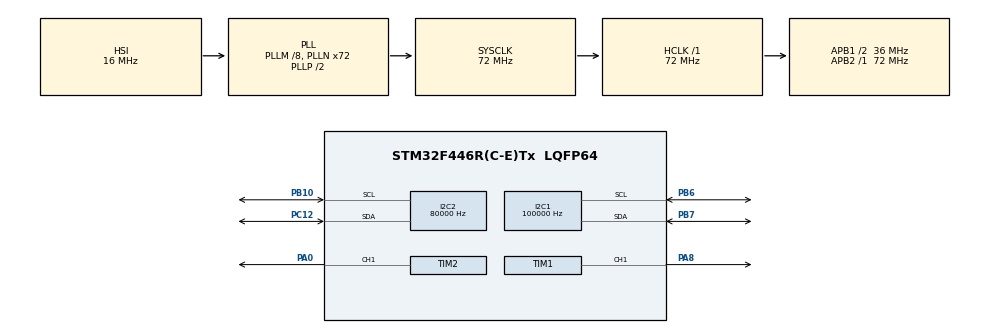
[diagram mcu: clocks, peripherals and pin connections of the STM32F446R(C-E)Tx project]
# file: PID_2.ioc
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I2C1.ClockSpeed=100000
I2C1.I2C_Mode=I2C_Fast
I2C2.ClockSpeed=80000
Mcu.Family=STM32F4
Mcu.Name=STM32F446R(C-E)Tx
Mcu.Package=LQFP64
NVIC.PriorityGroup=NVIC_PRIORITYGROUP_0
PA0-WKUP.Signal=S_TIM2_CH1_ETR
PA13.Mode=Serial_Wire
PA13.Signal=SYS_JTMS-SWDIO
PA14.Mode=Serial_Wire
PA14.Signal=SYS_JTCK-SWCLK
PA8.GPIO_Speed=GPIO_SPEED_FREQ_VERY_HIGH
PA8.Signal=S_TIM1_CH1
PB10.GPIO_Mode=GPIO_MODE_AF_OD
PB10.GPIO_Pu=GPIO_PULLUP
PB10.GPIO_Speed=GPIO_SPEED_FREQ_HIGH
PB10.Mode=I2C
PB10.Signal=I2C2_SCL
PB6.GPIO_Pu=GPIO_PULLUP
PB6.Mode=I2C
PB6.Signal=I2C1_SCL
PB7.GPIO_Pu=GPIO_PULLUP
PB7.Mode=I2C
PB7.Signal=I2C1_SDA
PC12.GPIO_Pu=GPIO_PULLUP
PC12.GPIO_Speed=GPIO_SPEED_FREQ_HIGH
PC12.Mode=I2C
PC12.Signal=I2C2_SDA
ProjectManager.HeapSize=0x200
ProjectManager.StackSize=0x400
ProjectManager.TargetToolchain=STM32CubeIDE
RCC.48MHZClocksFreq_Value=84000000
RCC.AHBFreq_Value=72000000
RCC.APB1CLKDivider=RCC_HCLK_DIV2
RCC.APB1Freq_Value=36000000
RCC.APB1TimFreq_Value=72000000
RCC.APB2Freq_Value=72000000
RCC.APB2TimFreq_Value=72000000
RCC.CortexFreq_Value=72000000
RCC.FLatency-AdvancedSettings=FLASH_LATENCY_2
RCC.HCLKFreq_Value=72000000
RCC.HSE_VALUE=8000000
RCC.HSI_VALUE=16000000
RCC.PLLM=8
RCC.PLLN=72
RCC.SYSCLKFreq_VALUE=72000000
RCC.SYSCLKSource=RCC_SYSCLKSOURCE_PLLCLK
RCC.USBFreq_Value=72000000
RCC.VCOOutputFreq_Value=144000000
SH.S_TIM1_CH1.0=TIM1_CH1,PWM Generation1 CH1
SH.S_TIM2_CH1_ETR.0=TIM2_CH1,PWM Generation1 CH1
TIM1.Channel-PWM\ Generation1\ CH1=TIM_CHANNEL_1
TIM1.Period=1000-1
TIM1.Prescaler=180-1
TIM2.Channel-PWM\ Generation1\ CH1=TIM_CHANNEL_1
TIM2.OCFastMode_PWM-PWM\ Generation1\ CH1=TIM_OCFAST_ENABLE
TIM2.Period=1000-1
TIM2.Prescaler=1440-1
board=NUCLEO-F446RE

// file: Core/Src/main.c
/* USER CODE BEGIN Header */
/**
  ******************************************************************************
  * @file           : main.c
  * @brief          : Main program body
  ******************************************************************************
  * @attention
  *
  * Copyright (c) 2024 STMicroelectronics.
  * All rights reserved.
  *
  * This software is licensed under terms that can be found in the LICENSE file
  * in the root directory of this software component.
  * If no LICENSE file comes with this software, it is provided AS-IS.
  *
  ******************************************************************************
  */
/* USER CODE END Header */
#include "main.h"

/* USER CODE BEGIN Includes */
#include <stdint.h>
#include <stdio.h>
#include <mpu6050.h>
#include <pid.h>
#include <motor.h>

/* USER CODE END Includes */

/* USER CODE BEGIN PTD */

#define Calibrate 1

/* USER CODE END PTD */

I2C_HandleTypeDef hi2c1;
I2C_HandleTypeDef hi2c2;

TIM_HandleTypeDef htim1;
TIM_HandleTypeDef htim2;

/* USER CODE BEGIN PV */

extern float KalmanAngleRoll;
double dt=0;
double dt1=0;
double last_time=0;
uint8_t ccr = 62;
uint8_t update_motor_flag = 0;
extern uint16_t control_sig;
/* USER CODE END PV */

void SystemClock_Config(void);
static void MX_GPIO_Init(void);
static void MX_I2C1_Init(void);
static void MX_TIM1_Init(void);
static void MX_TIM2_Init(void);
static void MX_I2C2_Init(void);

int main(void)
{

  /* MCU Configuration--------------------------------------------------------*/

  /* Reset of all peripherals, Initializes the Flash interface and the Systick. */
  HAL_Init();

  /* Configure the system clock */
  SystemClock_Config();

  /* Initialize all configured peripherals */
  MX_GPIO_Init();
  MX_I2C1_Init();
  MX_TIM1_Init();
  MX_TIM2_Init();
  MX_I2C2_Init();
  /* USER CODE BEGIN 2 */
  mpu6050_init();
  HAL_Delay(100);
 // calibrate_gyro();
 // calibrate_gyro();

  HAL_TIM_PWM_Start(&htim2, TIM_CHANNEL_1);
  __HAL_TIM_SET_COMPARE(&htim2, TIM_CHANNEL_1, 50);
  HAL_Delay(3000); //

  __HAL_TIM_SET_COMPARE(&htim2, TIM_CHANNEL_1, 75);
  HAL_Delay(3000);

  /* USER CODE END 2 */

  /* Infinite loop */
  while (1)
  {

    /* USER CODE BEGIN 3 */

    gyro_signals();

    accel_signals();
    Get_Angle();

    control_sig = get_control_signal(KalmanAngleRoll);

    if(control_sig>94){

      control_sig=94;
    }
    if(control_sig<70){
      control_sig=70;
    }

    __HAL_TIM_SET_COMPARE(&htim2, TIM_CHANNEL_1, control_sig);

  }
  /* USER CODE END 3 */

}
void SystemClock_Config(void)
{
  RCC_OscInitTypeDef RCC_OscInitStruct = {0};
  RCC_ClkInitTypeDef RCC_ClkInitStruct = {0};

  /** Configure the main internal regulator output voltage
  */
  __HAL_RCC_PWR_CLK_ENABLE();
  __HAL_PWR_VOLTAGESCALING_CONFIG(PWR_REGULATOR_VOLTAGE_SCALE3);

  /** Initializes the RCC Oscillators according to the specified parameters
  * in the RCC_OscInitTypeDef structure.
  */
  RCC_OscInitStruct.OscillatorType = RCC_OSCILLATORTYPE_HSI;
  RCC_OscInitStruct.HSIState = RCC_HSI_ON;
  RCC_OscInitStruct.HSICalibrationValue = RCC_HSICALIBRATION_DEFAULT;
  RCC_OscInitStruct.PLL.PLLState = RCC_PLL_ON;
  RCC_OscInitStruct.PLL.PLLSource = RCC_PLLSOURCE_HSI;
  RCC_OscInitStruct.PLL.PLLM = 8;
  RCC_OscInitStruct.PLL.PLLN = 72;
  RCC_OscInitStruct.PLL.PLLP = RCC_PLLP_DIV2;
  RCC_OscInitStruct.PLL.PLLQ = 2;
  RCC_OscInitStruct.PLL.PLLR = 2;
  if (HAL_RCC_OscConfig(&RCC_OscInitStruct) != HAL_OK)
  {
    Error_Handler();
  }

  /** Initializes the CPU, AHB and APB buses clocks
  */
  RCC_ClkInitStruct.ClockType = RCC_CLOCKTYPE_HCLK|RCC_CLOCKTYPE_SYSCLK
                              |RCC_CLOCKTYPE_PCLK1|RCC_CLOCKTYPE_PCLK2;
  RCC_ClkInitStruct.SYSCLKSource = RCC_SYSCLKSOURCE_PLLCLK;
  RCC_ClkInitStruct.AHBCLKDivider = RCC_SYSCLK_DIV1;
  RCC_ClkInitStruct.APB1CLKDivider = RCC_HCLK_DIV2;
  RCC_ClkInitStruct.APB2CLKDivider = RCC_HCLK_DIV1;

  if (HAL_RCC_ClockConfig(&RCC_ClkInitStruct, FLASH_LATENCY_2) != HAL_OK)
  {
    Error_Handler();
  }
}

static void MX_I2C1_Init(void)
{

  hi2c1.Instance = I2C1;
  hi2c1.Init.ClockSpeed = 100000;
  hi2c1.Init.DutyCycle = I2C_DUTYCYCLE_2;
  hi2c1.Init.OwnAddress1 = 0;
  hi2c1.Init.AddressingMode = I2C_ADDRESSINGMODE_7BIT;
  hi2c1.Init.DualAddressMode = I2C_DUALADDRESS_DISABLE;
  hi2c1.Init.OwnAddress2 = 0;
  hi2c1.Init.GeneralCallMode = I2C_GENERALCALL_DISABLE;
  hi2c1.Init.NoStretchMode = I2C_NOSTRETCH_DISABLE;
  if (HAL_I2C_Init(&hi2c1) != HAL_OK)
  {
    Error_Handler();
  }

}

static void MX_I2C2_Init(void)
{

  hi2c2.Instance = I2C2;
  hi2c2.Init.ClockSpeed = 80000;
  hi2c2.Init.DutyCycle = I2C_DUTYCYCLE_2;
  hi2c2.Init.OwnAddress1 = 0;
  hi2c2.Init.AddressingMode = I2C_ADDRESSINGMODE_7BIT;
  hi2c2.Init.DualAddressMode = I2C_DUALADDRESS_DISABLE;
  hi2c2.Init.OwnAddress2 = 0;
  hi2c2.Init.GeneralCallMode = I2C_GENERALCALL_DISABLE;
  hi2c2.Init.NoStretchMode = I2C_NOSTRETCH_DISABLE;
  if (HAL_I2C_Init(&hi2c2) != HAL_OK)
  {
    Error_Handler();
  }

}

static void MX_TIM1_Init(void)
{

  TIM_MasterConfigTypeDef sMasterConfig = {0};
  TIM_OC_InitTypeDef sConfigOC = {0};
  TIM_BreakDeadTimeConfigTypeDef sBreakDeadTimeConfig = {0};

  htim1.Instance = TIM1;
  htim1.Init.Prescaler = 180-1;
  htim1.Init.CounterMode = TIM_COUNTERMODE_UP;
  htim1.Init.Period = 1000-1;
  htim1.Init.ClockDivision = TIM_CLOCKDIVISION_DIV1;
  htim1.Init.RepetitionCounter = 0;
  htim1.Init.AutoReloadPreload = TIM_AUTORELOAD_PRELOAD_DISABLE;
  if (HAL_TIM_PWM_Init(&htim1) != HAL_OK)
  {
    Error_Handler();
  }
  sMasterConfig.MasterOutputTrigger = TIM_TRGO_RESET;
  sMasterConfig.MasterSlaveMode = TIM_MASTERSLAVEMODE_DISABLE;
  if (HAL_TIMEx_MasterConfigSynchronization(&htim1, &sMasterConfig) != HAL_OK)
  {
    Error_Handler();
  }
  sConfigOC.OCMode = TIM_OCMODE_PWM1;
  sConfigOC.Pulse = 0;
  sConfigOC.OCPolarity = TIM_OCPOLARITY_HIGH;
  sConfigOC.OCNPolarity = TIM_OCNPOLARITY_HIGH;
  sConfigOC.OCFastMode = TIM_OCFAST_DISABLE;
  sConfigOC.OCIdleState = TIM_OCIDLESTATE_RESET;
  sConfigOC.OCNIdleState = TIM_OCNIDLESTATE_RESET;
  if (HAL_TIM_PWM_ConfigChannel(&htim1, &sConfigOC, TIM_CHANNEL_1) != HAL_OK)
  {
    Error_Handler();
  }
  sBreakDeadTimeConfig.OffStateRunMode = TIM_OSSR_DISABLE;
  sBreakDeadTimeConfig.OffStateIDLEMode = TIM_OSSI_DISABLE;
  sBreakDeadTimeConfig.LockLevel = TIM_LOCKLEVEL_OFF;
  sBreakDeadTimeConfig.DeadTime = 0;
  sBreakDeadTimeConfig.BreakState = TIM_BREAK_DISABLE;
  sBreakDeadTimeConfig.BreakPolarity = TIM_BREAKPOLARITY_HIGH;
  sBreakDeadTimeConfig.AutomaticOutput = TIM_AUTOMATICOUTPUT_DISABLE;
  if (HAL_TIMEx_ConfigBreakDeadTime(&htim1, &sBreakDeadTimeConfig) != HAL_OK)
  {
    Error_Handler();
  }
  HAL_TIM_MspPostInit(&htim1);

}

static void MX_TIM2_Init(void)
{

  TIM_MasterConfigTypeDef sMasterConfig = {0};
  TIM_OC_InitTypeDef sConfigOC = {0};

  htim2.Instance = TIM2;
  htim2.Init.Prescaler = 1440-1;
  htim2.Init.CounterMode = TIM_COUNTERMODE_UP;
  htim2.Init.Period = 1000-1;
  htim2.Init.ClockDivision = TIM_CLOCKDIVISION_DIV1;
  htim2.Init.AutoReloadPreload = TIM_AUTORELOAD_PRELOAD_DISABLE;
  if (HAL_TIM_PWM_Init(&htim2) != HAL_OK)
  {
    Error_Handler();
  }
  sMasterConfig.MasterOutputTrigger = TIM_TRGO_RESET;
  sMasterConfig.MasterSlaveMode = TIM_MASTERSLAVEMODE_DISABLE;
  if (HAL_TIMEx_MasterConfigSynchronization(&htim2, &sMasterConfig) != HAL_OK)
  {
    Error_Handler();
  }
  sConfigOC.OCMode = TIM_OCMODE_PWM1;
  sConfigOC.Pulse = 0;
  sConfigOC.OCPolarity = TIM_OCPOLARITY_HIGH;
  sConfigOC.OCFastMode = TIM_OCFAST_ENABLE;
  if (HAL_TIM_PWM_ConfigChannel(&htim2, &sConfigOC, TIM_CHANNEL_1) != HAL_OK)
  {
    Error_Handler();
  }
  HAL_TIM_MspPostInit(&htim2);

}

static void MX_GPIO_Init(void)
{

  /* GPIO Ports Clock Enable */
  __HAL_RCC_GPIOA_CLK_ENABLE();
  __HAL_RCC_GPIOB_CLK_ENABLE();
  __HAL_RCC_GPIOC_CLK_ENABLE();

}

void Error_Handler(void)
{
  __disable_irq();
  while (1)
  {
  }
}
